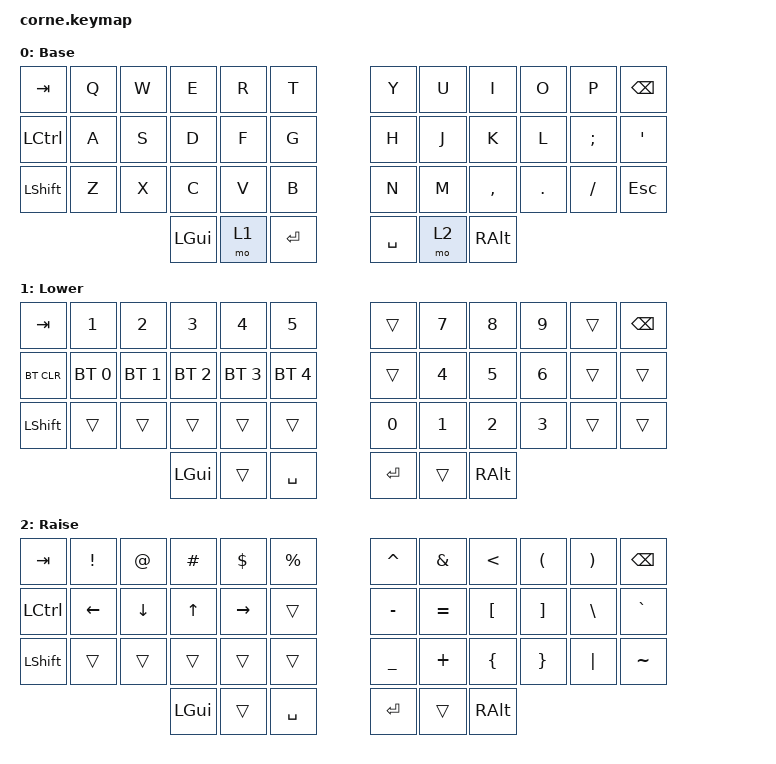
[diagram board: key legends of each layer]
/*
 * Copyright (c) 2020 The ZMK Contributors
 *
 * SPDX-License-Identifier: MIT
 */

#include <behaviors.dtsi>
#include <dt-bindings/zmk/bt.h>
#include <dt-bindings/zmk/keys.h>

/ {
    keymap {
        compatible = "zmk,keymap";

        default_layer {
            // -----------------------------------------------------------------------------------------
            // |  TAB |  Q  |  W  |  E  |  R  |  T  |   |  Y  |  U   |  I  |  O  |  P  | BKSP |
            // | CTRL |  A  |  S  |  D  |  F  |  G  |   |  H  |  J   |  K  |  L  |  ;  |  '   |
            // | SHFT |  Z  |  X  |  C  |  V  |  B  |   |  N  |  M   |  ,  |  .  |  /  | ESC  |
            //                    | GUI | LWR | SPC |   | ENT | RSE  | ALT |

            display-name = "Base";
            bindings = <
&kp TAB    &kp Q  &kp W  &kp E     &kp R  &kp T      &kp Y      &kp U  &kp I      &kp O    &kp P     &kp BSPC
&kp LCTRL  &kp A  &kp S  &kp D     &kp F  &kp G      &kp H      &kp J  &kp K      &kp L    &kp SEMI  &kp SQT
&kp LSHFT  &kp Z  &kp X  &kp C     &kp V  &kp B      &kp N      &kp M  &kp COMMA  &kp DOT  &kp FSLH  &kp ESC
                         &kp LGUI  &mo 1  &kp RET    &kp SPACE  &mo 2  &kp RALT
            >;
        };

        lower_layer {
            // -----------------------------------------------------------------------------------------
            // |  TAB |  1  |  2  |  3  |  4  |  5  |   |  6  |  7  |  8  |  9  |  0  | BKSP |
            // | BTCLR| BT1 | BT2 | BT3 | BT4 | BT5 |   | LFT | DWN |  UP | RGT |     |      |
            // | SHFT |     |     |     |     |     |   |     |     |     |     |     |      |
            //                    | GUI |     | SPC |   | ENT |     | ALT |

            display-name = "Lower";
            bindings = <
&kp TAB     &kp N1        &kp N2        &kp N3        &kp N4        &kp N5          &trans        &kp N7        &kp N8        &kp N9        &trans  &kp BSPC
&bt BT_CLR  &bt BT_SEL 0  &bt BT_SEL 1  &bt BT_SEL 2  &bt BT_SEL 3  &bt BT_SEL 4    &trans        &kp NUMBER_4  &kp NUMBER_5  &kp NUMBER_6  &trans  &trans
&kp LSHFT   &trans        &trans        &trans        &trans        &trans          &kp NUMBER_0  &kp NUMBER_1  &kp NUMBER_2  &kp NUMBER_3  &trans  &trans
                                        &kp LGUI      &trans        &kp SPACE       &kp RET       &trans        &kp RALT
            >;
        };

        raise_layer {
            // -----------------------------------------------------------------------------------------
            // |  TAB |  !  |  @  |  #  |  $  |  %  |   |  ^  |  &  |  *  |  (  |  )  | BKSP |
            // | CTRL |     |     |     |     |     |   |  -  |  =  |  [  |  ]  |  \  |  `   |
            // | SHFT |     |     |     |     |     |   |  _  |  +  |  {  |  }  | "|" |  ~   |
            //                    | GUI |     | SPC |   | ENT |     | ALT |

            display-name = "Raise";
            bindings = <
&kp TAB    &kp EXCL        &kp AT    &kp HASH      &kp DLLR   &kp PRCNT    &kp CARET  &kp AMPS   &kp LESS_THAN  &kp LPAR  &kp RPAR  &kp BSPC
&kp LCTRL  &kp LEFT_ARROW  &kp DOWN  &kp UP_ARROW  &kp RIGHT  &trans       &kp MINUS  &kp EQUAL  &kp LBKT       &kp RBKT  &kp BSLH  &kp GRAVE
&kp LSHFT  &trans          &trans    &trans        &trans     &trans       &kp UNDER  &kp PLUS   &kp LBRC       &kp RBRC  &kp PIPE  &kp TILDE
                                     &kp LGUI      &trans     &kp SPACE    &kp RET    &trans     &kp RALT
            >;
        };

        extra_1 { status = "reserved"; };

        extra_2 { status = "reserved"; };

        extra_3 { status = "reserved"; };
    };
};
